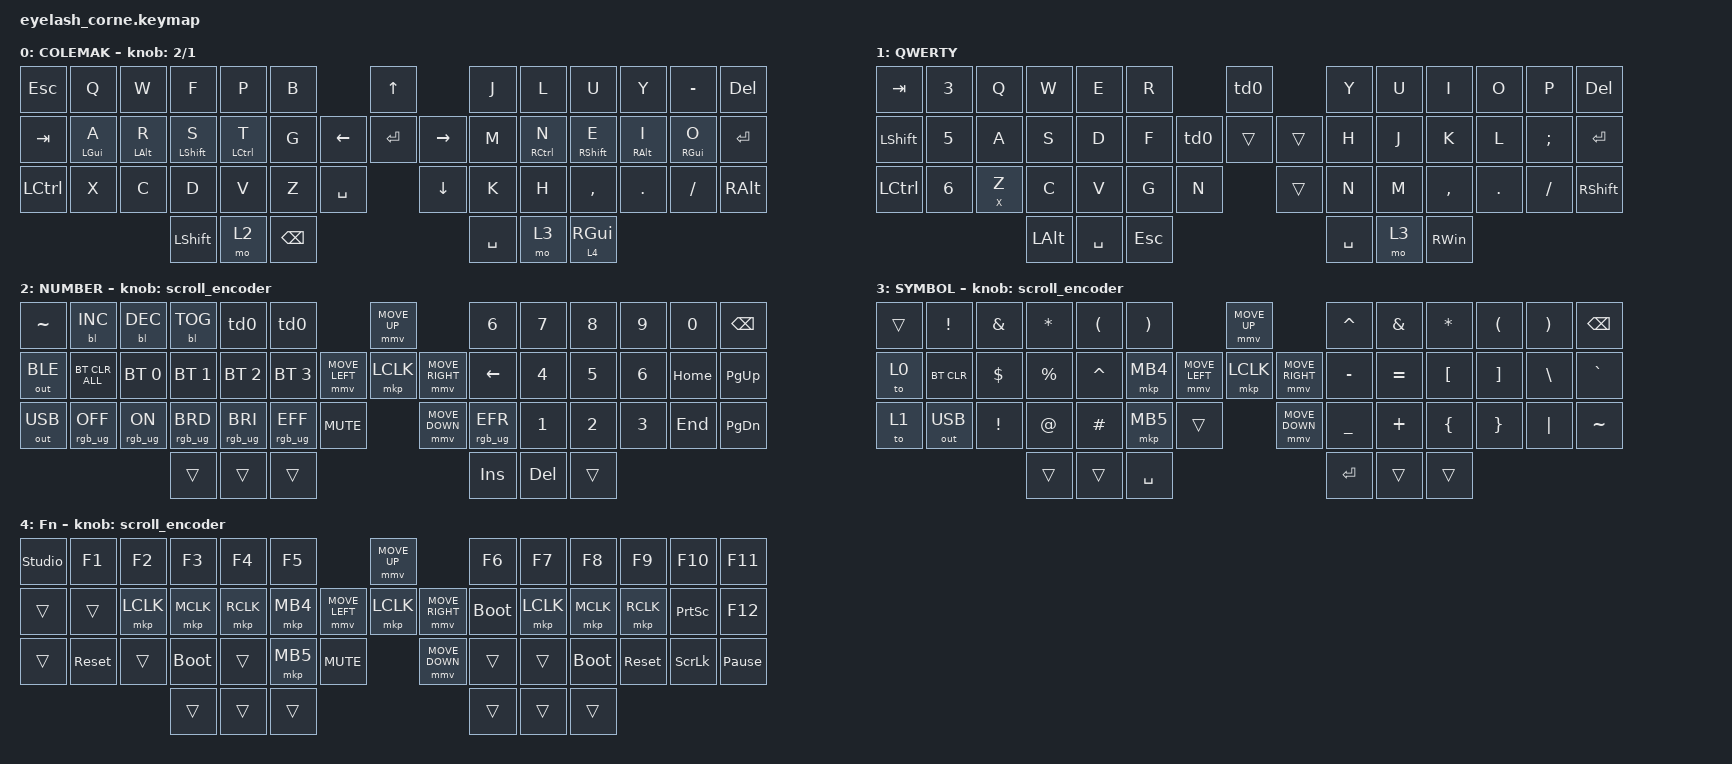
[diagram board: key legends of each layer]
#define ZMK_POINTING_DEFAULT_MOVE_VAL 1200  // 600
#define ZMK_POINTING_DEFAULT_SCRL_VAL 25   // 10

#include <input/processors.dtsi>
#include <zephyr/dt-bindings/input/input-event-codes.h>
#include <behaviors.dtsi>
#include <dt-bindings/zmk/backlight.h>
#include <dt-bindings/zmk/bt.h>
#include <dt-bindings/zmk/keys.h>
#include <dt-bindings/zmk/outputs.h>
#include <dt-bindings/zmk/pointing.h>
#include <dt-bindings/zmk/rgb.h>

&mmv_input_listener { input-processors = <&zip_xy_scaler 2 1>; };

&msc_input_listener { input-processors = <&zip_scroll_scaler 2 1>; };

&msc {
    acceleration-exponent = <1>;      // 0
    time-to-max-speed-ms = <100>;       // 300
    delay-ms = <0>;                   // 0
};

&mmv {
    time-to-max-speed-ms = <500>;
    acceleration-exponent = <1>;
    trigger-period-ms = <16>;
};

/ {
    behaviors {
        td0: td0 {
            compatible = "zmk,behavior-tap-dance";
            display-name = "Shift/Caps Lock Tap Dance";
            #binding-cells = <0>;
            bindings = <&kp LEFT_SHIFT>, <&kp CAPS>;
        };
    };

    rgb_encoder: rgb_encoder {
        compatible = "zmk,behavior-sensor-rotate";
        #sensor-binding-cells = <0>;
        bindings = <&rgb_ug RGB_BRI>, <&rgb_ug RGB_BRD>;
    };

    scroll_encoder: scroll_encoder {
        compatible = "zmk,behavior-sensor-rotate";
        #sensor-binding-cells = <0>;
        bindings = <&msc SCRL_DOWN>, <&msc SCRL_UP>;

        tap-ms = <100>;
    };

    keymap {
        compatible = "zmk,keymap";

        COLEMAK {
            display-name = "COLEMAK";
            bindings = <
&kp ESCAPE  &kp Q           &kp W           &kp F             &kp P        &kp B                                 &kp UP                &kp J      &kp L        &kp U              &kp Y            &kp MINUS        &kp DEL
&kp TAB     &mt LEFT_GUI A  &mt LEFT_ALT R  &mt LEFT_SHIFT S  &mt LCTRL T  &kp G                       &kp LEFT  &kp ENTER  &kp RIGHT  &kp M      &mt RCTRL N  &mt RIGHT_SHIFT E  &mt RIGHT_ALT I  &mt RIGHT_GUI O  &kp ENTER
&kp LCTRL   &kp X           &kp C           &kp D             &kp V        &kp Z          &kp SPACE              &kp DOWN              &kp K      &kp H        &kp COMMA          &kp DOT          &kp SLASH        &kp RIGHT_ALT
                                            &kp LEFT_SHIFT    &mo 2        &kp BACKSPACE                                               &kp SPACE  &mo 3        &lt 4 RIGHT_GUI
            >;

            // sensor-bindings = <&inc_dec_kp C_VOLUME_UP C_VOLUME_DOWN>;

            sensor-bindings = <&inc_dec_kp N2 N1>;
        };

        QWERTY {
            bindings = <
&kp TAB    &kp N3  &kp Q    &kp W     &kp E      &kp R                   &td0            &kp Y      &kp U  &kp I          &kp O    &kp P     &kp DELETE
&kp LSHFT  &kp N5  &kp A    &kp S     &kp D      &kp F             &td0  &trans  &trans  &kp H      &kp J  &kp K          &kp L    &kp SEMI  &kp ENTER
&kp LCTRL  &kp N6  &mt X Z  &kp C     &kp V      &kp G    &kp N          &trans          &kp N      &kp M  &kp COMMA      &kp DOT  &kp FSLH  &kp RSHIFT
                            &kp LALT  &kp SPACE  &kp ESC                                 &kp SPACE  &mo 3  &kp RIGHT_WIN
            >;

            label = "QWERTY";
        };

        NUMBER {
            display-name = "NUMBER";
            bindings = <
&kp TILDE     &bl BL_INC       &bl BL_DEC      &bl BL_TOG       &td0             &td0                                           &mmv MOVE_UP                     &kp N6           &kp N7        &kp N8        &kp N9        &kp N0    &kp BSPC
&out OUT_BLE  &bt BT_CLR_ALL   &bt BT_SEL 0    &bt BT_SEL 1     &bt BT_SEL 2     &bt BT_SEL 3                   &mmv MOVE_LEFT  &mkp LCLK       &mmv MOVE_RIGHT  &kp LEFT         &kp NUMBER_4  &kp N5        &kp NUMBER_6  &kp HOME  &kp PG_UP
&out OUT_USB  &rgb_ug RGB_OFF  &rgb_ug RGB_ON  &rgb_ug RGB_BRD  &rgb_ug RGB_BRI  &rgb_ug RGB_EFF  &kp C_MUTE                    &mmv MOVE_DOWN                   &rgb_ug RGB_EFR  &kp NUMBER_1  &kp NUMBER_2  &kp NUMBER_3  &kp END   &kp PG_DN
                                               &trans           &trans           &trans                                                                          &kp INS          &kp DEL       &trans
            >;

            sensor-bindings = <&scroll_encoder>;
        };

        SYMBOL {
            display-name = "SYMBOL";
            bindings = <
&trans  &kp EXCL      &kp AMPERSAND    &kp ASTERISK  &kp LEFT_PARENTHESIS  &kp RIGHT_PARENTHESIS                            &mmv MOVE_UP                     &kp CARET  &kp AMPS   &kp ASTRK  &kp LPAR  &kp RPAR  &kp BSPC
&to 0   &bt BT_CLR    &kp DOLLAR       &kp PERCENT   &kp CARET             &mkp MB4                         &mmv MOVE_LEFT  &mkp LCLK       &mmv MOVE_RIGHT  &kp MINUS  &kp EQUAL  &kp LBKT   &kp RBKT  &kp BSLH  &kp GRAVE
&to 1   &out OUT_USB  &kp EXCLAMATION  &kp AT_SIGN   &kp HASH              &mkp MB5               &trans                    &mmv MOVE_DOWN                   &kp UNDER  &kp PLUS   &kp LBRC   &kp RBRC  &kp PIPE  &kp TILDE
                                       &trans        &trans                &kp SPACE                                                                         &kp RET    &trans     &trans
            >;

            sensor-bindings = <&scroll_encoder>;
        };

        layer_3 {
            display-name = "Fn";
            bindings = <
&studio_unlock  &kp F1      &kp F2     &kp F3       &kp F4     &kp F5                                  &mmv MOVE_UP                     &kp F6       &kp F7     &kp F8       &kp F9      &kp F10          &kp F11
&trans          &trans      &mkp LCLK  &mkp MCLK    &mkp RCLK  &mkp MB4                &mmv MOVE_LEFT  &mkp LCLK       &mmv MOVE_RIGHT  &bootloader  &mkp LCLK  &mkp MCLK    &mkp RCLK   &kp PRINTSCREEN  &kp F12
&trans          &sys_reset  &trans     &bootloader  &trans     &mkp MB5  &kp C_MUTE                    &mmv MOVE_DOWN                   &trans       &trans     &bootloader  &sys_reset  &kp SCROLLLOCK   &kp PAUSE_BREAK
                                       &trans       &trans     &trans                                                                   &trans       &trans     &trans
            >;

            sensor-bindings = <&scroll_encoder>;
        };
    };
};
